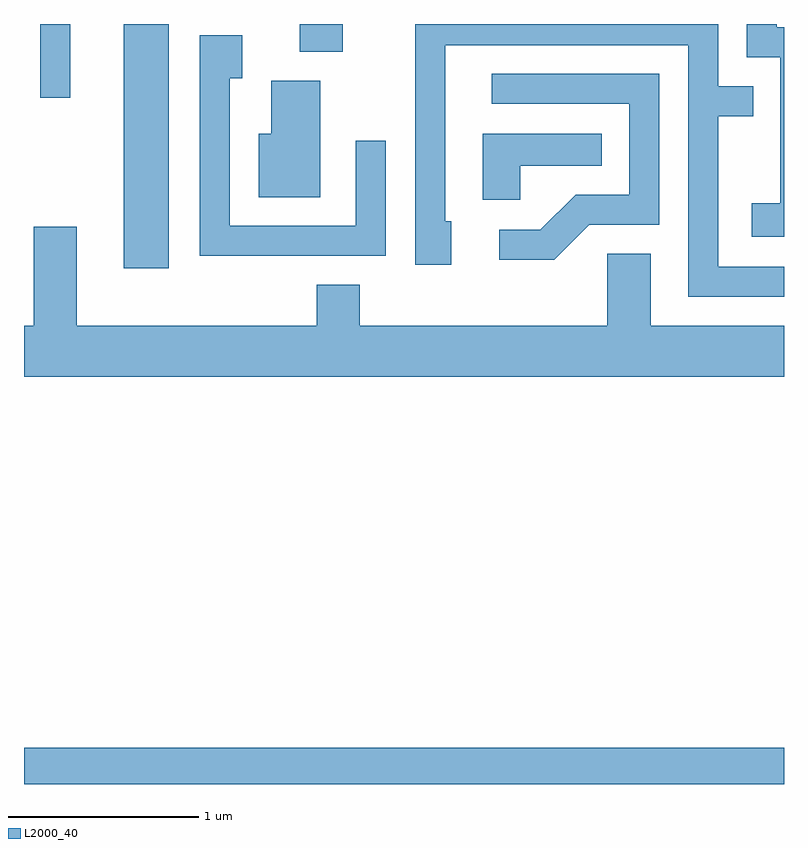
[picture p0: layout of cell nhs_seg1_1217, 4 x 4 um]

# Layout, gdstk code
import gdstk
lib = gdstk.Library(unit=1e-6, precision=1e-09)
def R(c, l, rs):  # rectangles x0, y0, x1, y1
    for r in rs: c.add(gdstk.rectangle(r[:2], r[2:], *l))
def P(c, l, *ps):  # polygons
    for p in ps: c.add(gdstk.Polygon(p, *l))
L2000_40 = (2000, 40)

nhs_seg1_1217 = lib.new_cell('nhs_seg1_1217')
R(nhs_seg1_1217, L2000_40, [(223.611,839.712,227.611,839.904), (224.136,842.426,224.374,843.712), (223.696,843.323,223.854,843.712), (225.061,843.566,225.289,843.712)])
P(nhs_seg1_1217, L2000_40, [(227.611,843.694),(227.574,843.694),(227.574,843.712),(227.416,843.712),(227.416,843.536),(227.591,843.536),(227.591,842.769),(227.441,842.769),(227.441,842.591),(227.611,842.591)],
  [(227.611,842.434),(227.264,842.434),(227.264,843.226),(227.448,843.226),(227.448,843.384),(227.264,843.384),(227.264,843.712),(225.671,843.712),(225.671,842.446),(225.859,842.446),(225.859,842.674),(225.829,842.674),(225.829,843.601),(227.106,843.601),(227.106,842.276),(227.611,842.276)],
  [(225.514,843.098),(225.356,843.098),(225.356,842.649),(224.694,842.649),(224.694,843.426),(224.759,843.426),(224.759,843.654),(224.536,843.654),(224.536,842.491),(225.514,842.491)],
  [(226.587,842.656),(226.954,842.656),(226.954,843.449),(226.073,843.449),(226.073,843.291),(226.796,843.291),(226.796,842.814),(226.514,842.814),(226.329,842.629),(226.113,842.629),(226.113,842.471),(226.402,842.471)],
  [(225.169,843.414),(224.911,843.414),(224.911,843.134),(224.846,843.134),(224.846,842.801),(225.169,842.801)],
  [(226.224,842.966),(226.653,842.966),(226.653,843.134),(226.026,843.134),(226.026,842.786),(226.224,842.786)],
  [(227.611,842.124),(226.909,842.124),(226.909,842.504),(226.681,842.504),(226.681,842.124),(225.379,842.124),(225.379,842.339),(225.151,842.339),(225.151,842.124),(223.889,842.124),(223.889,842.644),(223.661,842.644),(223.661,842.124),(223.611,842.124),(223.611,841.856),(227.611,841.856)])

lib.write_gds('nhs_seg1_1217.gds')
